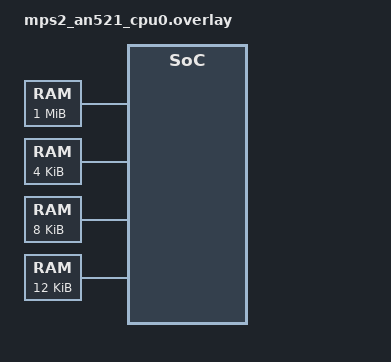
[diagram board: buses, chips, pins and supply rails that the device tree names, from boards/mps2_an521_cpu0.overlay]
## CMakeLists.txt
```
# SPDX-License-Identifier: Apache-2.0

cmake_minimum_required(VERSION 3.20.0)

find_package(Zephyr REQUIRED HINTS $ENV{ZEPHYR_BASE})
project(shared_multi_heap_pool)

target_sources(app PRIVATE src/main.c)
```

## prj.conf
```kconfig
# Copyright 2021 Carlo Caione <ccaione@baylibre.com>
# SPDX-License-Identifier: Apache-2.0

CONFIG_ZTEST=y
CONFIG_SHARED_MULTI_HEAP=y
```

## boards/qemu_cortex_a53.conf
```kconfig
CONFIG_HAVE_CUSTOM_LINKER_SCRIPT=y
CONFIG_CUSTOM_LINKER_SCRIPT="linker_arm64_shared_pool.ld"
```

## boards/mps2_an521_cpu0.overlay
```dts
/*
 * Copyright (c) 2021 Carlo Caione <ccaione@baylibre.com>
 *
 * SPDX-License-Identifier: Apache-2.0
 */

#include <zephyr/dt-bindings/memory-attr/memory-attr.h>
#include <zephyr/dt-bindings/memory-attr/memory-attr-arm.h>

/ {
	/delete-node/ memory@38000000;

	ssram2_3: memory@38000000 {
		compatible = "zephyr,memory-region", "mmio-sram";
		reg = <0x38000000 0x100000>;
		zephyr,memory-region = "SSRAM2_3";
	};

	res0: memory@38100000 {
		compatible = "zephyr,memory-region", "mmio-sram";
		reg = <0x38100000 0x1000>;
		zephyr,memory-region = "RES0";
		zephyr,memory-attr = <( DT_MEM_ARM(ATTR_MPU_RAM) )>;
	};

	res1: memory@38200000 {
		compatible = "zephyr,memory-region", "mmio-sram";
		reg = <0x38200000 0x2000>;
		zephyr,memory-region = "RES1";
		zephyr,memory-attr = <( DT_MEM_ARM(ATTR_MPU_RAM_NOCACHE) )>;
	};

	res2: memory@38300000 {
		compatible = "zephyr,memory-region", "mmio-sram";
		reg = <0x38300000 0x3000>;
		zephyr,memory-region = "RES2";
		zephyr,memory-attr = <( DT_MEM_ARM(ATTR_MPU_RAM) )>;
	};
};
```

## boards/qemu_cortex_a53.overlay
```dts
/*
 * Copyright (c) 2021 Carlo Caione <ccaione@baylibre.com>
 *
 * SPDX-License-Identifier: Apache-2.0
 */

#include <zephyr/dt-bindings/memory-attr/memory-attr.h>
#include <zephyr/dt-bindings/memory-attr/memory-attr-arm.h>

/ {
	soc {
		res0: memory@42000000 {
			compatible = "zephyr,memory-region", "mmio-sram";
			reg = <0x0 0x42000000 0x0 0x1000>;
			zephyr,memory-region = "RES0";
			zephyr,memory-attr = <( DT_MEM_ARM(ATTR_MPU_RAM) )>;
		};

		res1: memory@43000000 {
			compatible = "zephyr,memory-region", "mmio-sram";
			reg = <0x0 0x43000000 0x0 0x2000>;
			zephyr,memory-region = "RES1";
			zephyr,memory-attr = <( DT_MEM_ARM(ATTR_MPU_RAM_NOCACHE) )>;
		};

		res_no_mpu: memory@45000000 {
			compatible = "zephyr,memory-region", "mmio-sram";
			reg = <0x0 0x45000000 0x0 0x1000>;
			zephyr,memory-region = "RES_NO_MPU";
		};

		res2: memory@44000000 {
			compatible = "zephyr,memory-region", "mmio-sram";
			reg = <0x0 0x44000000 0x0 0x3000>;
			zephyr,memory-region = "RES2";
			zephyr,memory-attr = <( DT_MEM_ARM(ATTR_MPU_RAM) )>;
		};
	};
};
```

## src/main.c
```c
/*
 * Copyright (c) 2021 Carlo Caione <ccaione@baylibre.com>
 *
 * SPDX-License-Identifier: Apache-2.0
 */

#include <zephyr/kernel.h>
#include <zephyr/ztest.h>
#include <zephyr/linker/linker-defs.h>
#include <zephyr/kernel/mm.h>
#include <zephyr/dt-bindings/memory-attr/memory-attr-arm.h>

#include <zephyr/multi_heap/shared_multi_heap.h>

#define DT_DRV_COMPAT		zephyr_memory_region

#define RES0_CACHE_ADDR		DT_REG_ADDR(DT_NODELABEL(res0))
#define RES1_NOCACHE_ADDR	DT_REG_ADDR(DT_NODELABEL(res1))
#define RES2_CACHE_ADDR		DT_REG_ADDR(DT_NODELABEL(res2))

struct region_map {
	struct shared_multi_heap_region region;
	uintptr_t p_addr;
};

#define FOREACH_REG(n)								\
	{									\
		.region = {							\
			.addr = (uintptr_t) DT_INST_REG_ADDR(n),		\
			.size = DT_INST_REG_SIZE(n),				\
			.attr = DT_INST_PROP_OR(n, zephyr_memory_attr,		\
						DT_MEM_ARM_MPU_UNKNOWN),	\
		},								\
	},

struct region_map map[] = {
	DT_INST_FOREACH_STATUS_OKAY(FOREACH_REG)
};

#if defined(CONFIG_MMU)
static void smh_reg_map(struct shared_multi_heap_region *region)
{
	uint32_t mem_attr;
	uint8_t *v_addr;

	mem_attr = (region->attr == SMH_REG_ATTR_CACHEABLE) ? K_MEM_CACHE_WB : K_MEM_CACHE_NONE;
	mem_attr |= K_MEM_PERM_RW;

	k_mem_map_phys_bare(&v_addr, region->addr, region->size, mem_attr);

	region->addr = (uintptr_t) v_addr;
}
#endif /* CONFIG_MMU */

/*
 * Given a virtual address retrieve the original memory region that the mapping
 * is belonging to.
 */
static struct region_map *get_region_map(void *v_addr)
{
	for (size_t reg = 0; reg < ARRAY_SIZE(map); reg++) {
		if ((uintptr_t) v_addr >= map[reg].region.addr &&
		    (uintptr_t) v_addr < map[reg].region.addr + map[reg].region.size) {
			return &map[reg];
		}
	}
	return NULL;
}

static inline enum shared_multi_heap_attr mpu_to_reg_attr(uint32_t dt_attr)
{
	/*
	 * All the memory regions defined in the DT with the MPU property `RAM`
	 * can be accessed and memory can be retrieved from using the attribute
	 * `SMH_REG_ATTR_CACHEABLE`.
	 *
	 * All the memory regions defined in the DT with the MPU property
	 * `RAM_NOCACHE` can be accessed and memory can be retrieved from using
	 * the attribute `SMH_REG_ATTR_NON_CACHEABLE`.
	 *
	 * [MPU attr]   -> [SMH attr]
	 *
	 * RAM          -> SMH_REG_ATTR_CACHEABLE
	 * RAM_NOCACHE  -> SMH_REG_ATTR_NON_CACHEABLE
	 */
	switch (DT_MEM_ARM_GET(dt_attr)) {
	case DT_MEM_ARM_MPU_RAM:
		return SMH_REG_ATTR_CACHEABLE;
	case DT_MEM_ARM_MPU_RAM_NOCACHE:
		return SMH_REG_ATTR_NON_CACHEABLE;
	default:
		/* How ? */
		ztest_test_fail();
	}

	/* whatever */
	return 0;
}

static void fill_multi_heap(void)
{
	struct region_map *reg_map;

	for (size_t idx = 0; idx < DT_NUM_INST_STATUS_OKAY(DT_DRV_COMPAT); idx++) {
		reg_map = &map[idx];

		/* zephyr,memory-attr property not found. Skip it. */
		if (reg_map->region.attr == DT_MEM_ARM_MPU_UNKNOWN) {
			continue;
		}

		/* Convert MPU attributes to shared-multi-heap capabilities */
		reg_map->region.attr = mpu_to_reg_attr(reg_map->region.attr);

		/* Assume for now that phys == virt */
		reg_map->p_addr = reg_map->region.addr;

#if defined(CONFIG_MMU)
		/*
		 * For MMU-enabled platform we have to MMU-map the physical
		 * address retrieved by DT at run-time because the SMH
		 * framework expects virtual addresses.
		 *
		 * For MPU-enabled platform the code is assuming that the
		 * region are configured at build-time, so no map is needed.
		 */
		smh_reg_map(&reg_map->region);
#endif /* CONFIG_MMU */

		shared_multi_heap_add(&reg_map->region, NULL);
	}
}

ZTEST(shared_multi_heap, test_shared_multi_heap)
{
	struct region_map *reg_map;
	void *block;
	int ret;

	ret = shared_multi_heap_pool_init();
	zassert_equal(0, ret, "failed initialization");

	/*
	 * Return -EALREADY if already inited
	 */
	ret = shared_multi_heap_pool_init();
	zassert_equal(-EALREADY, ret, "second init should fail");

	/*
	 * Fill the buffer pool with the memory heaps coming from DT
	 */
	fill_multi_heap();

	/*
	 * Request a small cacheable chunk. It should be allocated in the
	 * smaller region RES0
	 */
	block = shared_multi_heap_alloc(SMH_REG_ATTR_CACHEABLE, 0x40);
	reg_map = get_region_map(block);

	zassert_equal(reg_map->p_addr, RES0_CACHE_ADDR, "block in the wrong memory region");
	zassert_equal(reg_map->region.attr, SMH_REG_ATTR_CACHEABLE, "wrong memory attribute");

	/*
	 * Request another small cacheable chunk. It should be allocated in the
	 * smaller cacheable region RES0
	 */
	block = shared_multi_heap_alloc(SMH_REG_ATTR_CACHEABLE, 0x80);
	reg_map = get_region_map(block);

	zassert_equal(reg_map->p_addr, RES0_CACHE_ADDR, "block in the wrong memory region");
	zassert_equal(reg_map->region.attr, SMH_REG_ATTR_CACHEABLE, "wrong memory attribute");

	/*
	 * Request a big cacheable chunk. It should be allocated in the
	 * bigger cacheable region RES2
	 */
	block = shared_multi_heap_alloc(SMH_REG_ATTR_CACHEABLE, 0x1200);
	reg_map = get_region_map(block);

	zassert_equal(reg_map->p_addr, RES2_CACHE_ADDR, "block in the wrong memory region");
	zassert_equal(reg_map->region.attr, SMH_REG_ATTR_CACHEABLE, "wrong memory attribute");

	/*
	 * Request a non-cacheable chunk. It should be allocated in the
	 * non-cacheable region RES1
	 */
	block = shared_multi_heap_alloc(SMH_REG_ATTR_NON_CACHEABLE, 0x100);
	reg_map = get_region_map(block);

	zassert_equal(reg_map->p_addr, RES1_NOCACHE_ADDR, "block in the wrong memory region");
	zassert_equal(reg_map->region.attr, SMH_REG_ATTR_NON_CACHEABLE, "wrong memory attribute");

	/*
	 * Request again a non-cacheable chunk. It should be allocated in the
	 * non-cacheable region RES1
	 */
	block = shared_multi_heap_alloc(SMH_REG_ATTR_NON_CACHEABLE, 0x100);
	reg_map = get_region_map(block);

	zassert_equal(reg_map->p_addr, RES1_NOCACHE_ADDR, "block in the wrong memory region");
	zassert_equal(reg_map->region.attr, SMH_REG_ATTR_NON_CACHEABLE, "wrong memory attribute");

	/* Request a block too big */
	block = shared_multi_heap_alloc(SMH_REG_ATTR_NON_CACHEABLE, 0x10000);
	zassert_is_null(block, "allocated buffer too big for the region");

	/* Request a 0-sized block */
	block = shared_multi_heap_alloc(SMH_REG_ATTR_NON_CACHEABLE, 0);
	zassert_is_null(block, "0 size accepted as valid");

	/* Request a non-existent attribute */
	block = shared_multi_heap_alloc(MAX_SHARED_MULTI_HEAP_ATTR, 0x100);
	zassert_is_null(block, "wrong attribute accepted as valid");
}

ZTEST_SUITE(shared_multi_heap, NULL, NULL, NULL, NULL, NULL);
```
